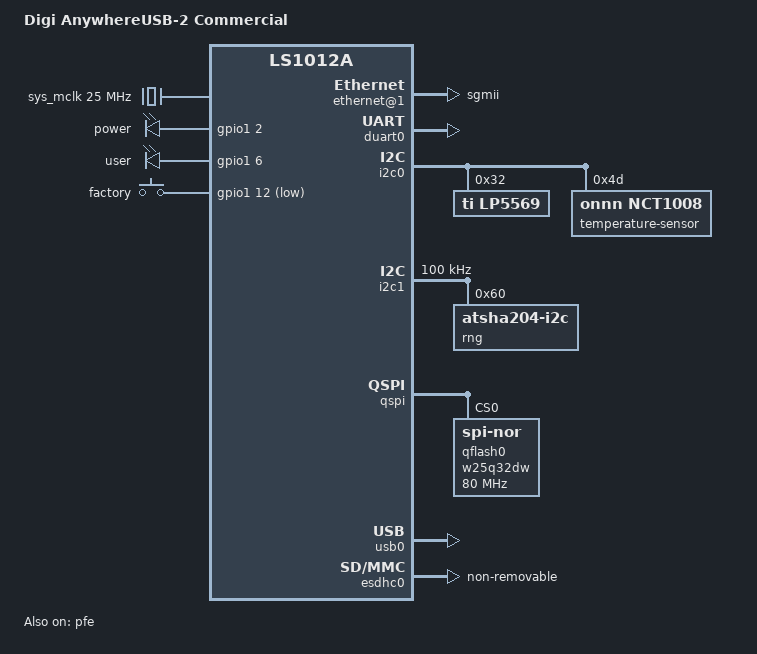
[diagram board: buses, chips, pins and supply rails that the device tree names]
// SPDX-License-Identifier: (GPL-2.0+ OR MIT)
/*
 * Device Tree Include file for Digi ConnectEZ-1.
 *
 * Copyright 2016 Freescale Semiconductor, Inc.
 * Copyright 2018 Digi Inc.
 *
 * Mingkai Hu <mingkai.hu@nxp.com>
 * Greg Ungerer <gregory.ungerer@digi.com>
 */

/dts-v1/;

#include "fsl-ls1012a.dtsi"
#include <dt-bindings/interrupt-controller/arm-gic.h>
#include <dt-bindings/gpio/gpio.h>
#include <dt-bindings/input/input.h>
#include <dt-bindings/leds/common.h>

/ {
	model = "Digi AnywhereUSB-2 Commercial";
	compatible = "digi,anywhereusb2", "fsl,ls1012a";

	aliases {
		serial0 = &duart0;
	};

	chosen {
		stdout-path = "serial0:115200n8";
	};

	sys_mclk: clock-mclk {
		compatible = "fixed-clock";
		#clock-cells = <0>;
		clock-frequency = <25000000>;
	};

	soc {
		rcpm@1ee2000 {
			compatible = "fsl,ls1012a-rcpm", "fsl,qoriq-rcpm-2.1";
			reg = <0x0 0x1ee2000 0x0 0x1000>;
			fsl,#rcpm-wakeup-cells = <1>;
		};
	};

	reserved-memory {
		#address-cells = <2>;
		#size-cells = <2>;
		ranges;

		pfe_reserved: packetbuffer@83400000 {
			reg = <0 0x83400000 0 0xc00000>;
		};

		/*
		* 64KiB reserved for pstore (ramoops).
		*/
		ramoops@8bdef000 {
			compatible = "ramoops";
			reg = <0 0x8bdef000 0 0x10000>;
			ecc-size = <16>;
			record-size = <0x1000>;
			console-size = <0x1000>;
		};
	};

	pfe: pfe@04000000 {
		status = "okay";
		compatible = "fsl,pfe";
		reg =   <0x0 0x04000000 0x0 0xc00000>,	/* AXI 16M */
			<0x0 0x83400000 0x0 0xc00000>;  /* PFE DDR 12M */
		reg-names = "pfe", "pfe-ddr";
		fsl,pfe-num-interfaces = <0x2>;
		interrupts = <0 172 0x4>,    /* HIF interrupt */
			     <0 173 0x4>,    /*HIF_NOCPY interrupt */
			     <0 174 0x4>;    /* WoL interrupt */
		interrupt-names = "pfe_hif", "pfe_hif_nocpy", "pfe_wol";
		memory-region = <&pfe_reserved>;
		fsl,pfe-scfg = <&scfg 0>;
		fsl,rcpm-wakeup = <&rcpm 0xf0000020>;
		clocks = <&clockgen 4 0>;
		clock-names = "pfe";
	};

	leds {
		compatible = "gpio-leds";

		power-led {
			label = "power";
			pinctrl-names = "default";
			gpios = <&gpio1 2 GPIO_ACTIVE_HIGH>;
			linux,default-trigger = "default-on";
		};

		user-led {
			label = "user";
			pinctrl-names = "default";
			gpios = <&gpio1 6 GPIO_ACTIVE_HIGH>;
			linux,default-trigger = "none";
		};
	};

	gpio-keys {
		compatible = "gpio-keys";

		factory-button {
			label = "factory";
			linux,code = <KEY_DELETE>;
			gpios = <&gpio1 12 GPIO_ACTIVE_LOW>;
		};
	};
};

&duart0 {
	status = "okay";
};

&i2c0 {
	status = "okay";

	lp5569:lp5569@32 {
		compatible = "ti,lp5569";
		reg = <0x32>;
		label = "lp5569";
		clock-mode = /bits/ 8 <1>;  /* internal */
		#address-cells = <1>;
		#size-cells = <0>;

		chan3 {
			chan-name = "b01";
			led-cur = /bits/ 8 <0x18>;  /* 2.4mA */
			max-cur = /bits/ 8 <0x18>;  /* 2.4mA */
			color = <LED_COLOR_ID_BLUE>;
			reg = <3>;
			linux,default-trigger = "timer";
		};

		chan4 {
			chan-name = "g01";
			led-cur = /bits/ 8 <0x03>;  /* 0.3mA */
			max-cur = /bits/ 8 <0x18>;  /* 2.4mA */
			color = <LED_COLOR_ID_GREEN>;
			reg = <4>;
			linux,default-trigger = "timer";
		};

		chan5 {
			chan-name = "r01";
			led-cur = /bits/ 8 <0x18>;  /* 2.4mA */
			max-cur = /bits/ 8 <0x18>;  /* 2.4mA */
			color = <LED_COLOR_ID_RED>;
			reg = <5>;
			linux,default-trigger = "timer";
		};

		chan6 {
			chan-name = "b02";
			led-cur = /bits/ 8 <0x18>;  /* 2.4mA */
			max-cur = /bits/ 8 <0x18>;  /* 2.4mA */
			color = <LED_COLOR_ID_BLUE>;
			reg = <6>;
			linux,default-trigger = "timer";
		};

		chan7 {
			chan-name = "g02";
			led-cur = /bits/ 8 <0x03>;  /* 0.3mA */
			max-cur = /bits/ 8 <0x18>;  /* 2.4mA */
			color = <LED_COLOR_ID_GREEN>;
			reg = <7>;
			linux,default-trigger = "timer";
		};

		chan8 {
			chan-name = "r02";
			led-cur = /bits/ 8 <0x18>;  /* 2.4mA */
			max-cur = /bits/ 8 <0x18>;  /* 2.4mA */
			color = <LED_COLOR_ID_RED>;
			reg = <8>;
			linux,default-trigger = "timer";
		};
	};

	temperature-sensor@4d {
		compatible = "onnn,nct1008"; /* nct72 reg/pin compatible */
		reg = <0x4d>;
	};
};

&i2c1 {
	clock-frequency = <100000>;
	status = "okay";

	rng: atecc508a@60 {
		compatible = "atsha204-i2c";
		reg = <0x60>;
	};
};

&qspi {
	num-cs = <1>;
	bus-num = <0>;
	status = "okay";

	qflash0: w25q32dw@0 {
		compatible = "jedec,spi-nor";
		#address-cells = <1>;
		#size-cells = <1>;
		spi-max-frequency = <80000000>;
		spi-rx-bus-width = <1>;
		spi-tx-bus-width = <1>;
		reg = <0>;
	};
};

&pfe {
	status = "okay";
	#address-cells = <1>;
	#size-cells = <0>;

	ethernet@1 {
		compatible = "fsl,pfe-gemac-port";
		#address-cells = <1>;
		#size-cells = <0>;
		reg = <0x0>;    /* GEM_ID */
		fsl,gemac-bus-id = <0x0>; /* BUS_ID */
		fsl,gemac-phy-id = <0x0>; /* PHY_ID */
		fsl,mdio-mux-val = <0x0>;
		phy-mode = "sgmii";
		fsl,pfe-phy-if-flags = <0x0>;

		mdio {
			reg = <0x1>; /* enabled/disabled */
		};
	};
};

&usb0 {
	status = "ok";
};

&usb1 {
	status = "disabled";
};

&esdhc0 {
	mmc-hs200-1_8v;
	non-removable;
	status = "okay";
};

&esdhc1 {
	status = "disabled";
};

&gpio1 {
	gpio-line-names = "", "", "", "", "", "", "", "developer_",
			  "", "", "", "", "factory", "", "", "",
			  "", "", "", "", "", "", "", "",
			  "", "", "", "", "", "", "", "";
};
